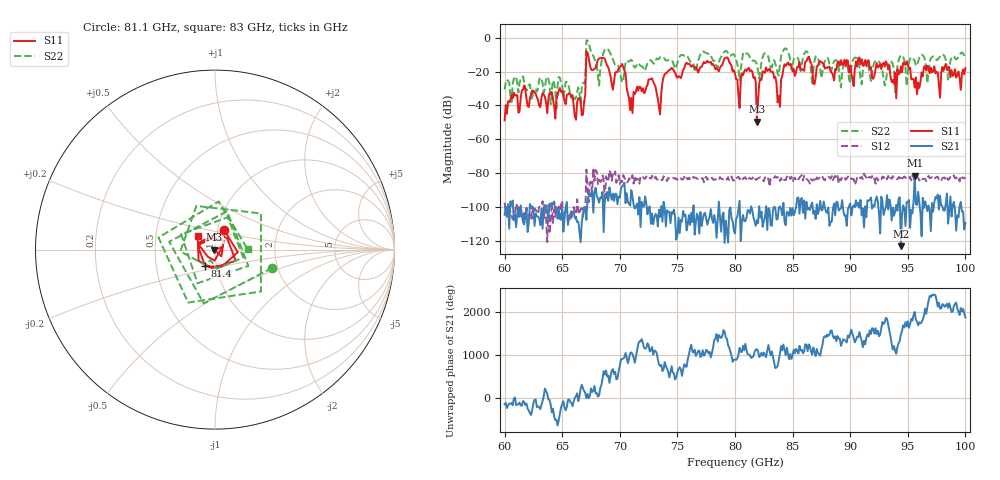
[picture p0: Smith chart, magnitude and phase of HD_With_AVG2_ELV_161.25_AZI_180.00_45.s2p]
! 11/25/2026 10:32:47 AM
! C:\ANRITSUVNA\TEMP\TEMP.S2P
! CHANNEL.1
! TR.MEASUREMENT
! RAW.DATA
# HZ S RI R 50.0
! FREQ.HZ  S11RE  S11IM  S21RE  S21IM  S12RE  S12IM  S22RE  S22IM
!; PortSelection: Port_12
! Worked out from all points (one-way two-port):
!   401 points, 60 GHz to 100 GHz, reference 50 ohm
!   highest |S21| = -81.32 dB at 95.6 GHz (marker M1); lowest = -122.8 dB at 94.4 GHz (marker M2)
!   lowest |S11| = -49.5 dB at 81.9 GHz (marker M3), VSWR 1.01, Z = 49.7 + j0.0431 ohm
!   |S11| at or under -10 dB: start of sweep to 67.09 GHz; 67.24 GHz to end of sweep
!   |S22| runs from -42.9 to -1.7 dB; largest |S21 - S12| = 0.00015
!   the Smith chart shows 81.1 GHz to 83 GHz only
!   S11 on the Smith chart (normalised r, x): 81.1 GHz: 1.08, +0.24; 81.4 GHz: 0.88, -0.17; 83 GHz: 0.82, +0.12
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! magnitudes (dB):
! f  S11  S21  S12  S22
! 60 GHz  -48.7  -104.4  -97.2  -30.5
! 61.6 GHz  -30.6  -108.6  -108.0  -22.8
! 66.7 GHz  -45.7  -108.7  -100.4  -29.5
! 67.3 GHz  -12.1  -93.7  -97.0  -3.2
! 68.4 GHz  -11.8  -94.6  -84.6  -14.7
! 70.3 GHz  -17.5  -87.0  -80.9  -25.5
! 70.9 GHz  -42.8  -98.9  -84.3  -13.5
! 72.7 GHz  -24.4  -109.7  -83.1  -13.3
! 73.4 GHz  -41.2  -101.4  -84.1  -12.6
! 74.4 GHz  -18.6  -109.3  -83.1  -13.4
! 80 GHz  -21.2  -115.3  -82.6  -11.0
! 81.1 GHz  -18.4  -101.6  -84.4  -9.5
! 81.4 GHz  -19.3  -99.4  -83.3  -13.0
! 81.9 GHz  -49.5  -107.4  -83.4  -15.7
! 83 GHz  -18.3  -101.5  -87.7  -14.8
! 83.8 GHz  -34.2  -100.3  -81.9  -22.3
! 84.5 GHz  -15.6  -102.6  -81.8  -7.0
! 86.7 GHz  -17.5  -97.2  -84.2  -27.9
! 93.4 GHz  -16.4  -95.3  -83.7  -15.6
! 94.4 GHz  -17.0  -122.8  -81.2  -10.5
! 95.6 GHz  -29.5  -81.3  -84.2  -13.7
! 100 GHz  -17.9  -109.1  -83.2  -12.1
